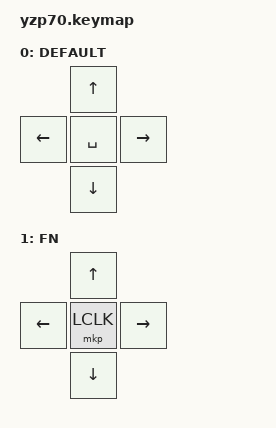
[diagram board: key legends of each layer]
/*
 * Copyright (c) 2020 The ZMK Contributors
 *
 * SPDX-License-Identifier: MIT
 */

#include <behaviors.dtsi>
#include <dt-bindings/zmk/keys.h>
#include <dt-bindings/zmk/bt.h>
#include <dt-bindings/zmk/outputs.h>
#include <dt-bindings/zmk/mouse.h>

#define DEFAULT 0
#define FN  1

/ {
    keymap {
        compatible = "zmk,keymap";

        default_layer {
            label = "DEFAULT";
            bindings = <
                 &kp UP                    
      &kp LEFT  &kp SPACE   &kp RIGHT      
                &kp DOWN              
            >;
        };

        fn_layer {
            label = "FN";
            bindings = <
                 &kp UP                    



      &kp LEFT  &mkp LCLK  &kp RIGHT      
                &kp DOWN  

                >;         
        };
    };
};
